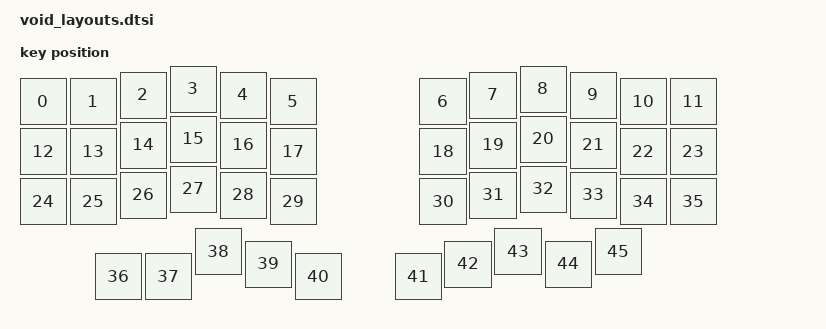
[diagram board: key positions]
#include <physical_layouts.dtsi>

/ {
    void_layout: void_layout {
        compatible = "zmk,physical-layout";
        display-name = "Void Ergo";

        keys  //                     w   h    x    y     rot    rx    ry
                  = <&key_physical_attrs 100 100 0 25 0 0 0>,
                  <&key_physical_attrs 100 100 100 25 0 0 0>,
                  <&key_physical_attrs 100 100 200 12 0 0 0>,
                  <&key_physical_attrs 100 100 300 0 0 0 0>,
                  <&key_physical_attrs 100 100 400 12 0 0 0>,
                  <&key_physical_attrs 100 100 500 25 0 0 0>,
                  <&key_physical_attrs 100 100 800 25 0 0 0>,
                  <&key_physical_attrs 100 100 900 12 0 0 0>,
                  <&key_physical_attrs 100 100 1000 0 0 0 0>,
                  <&key_physical_attrs 100 100 1100 12 0 0 0>,
                  <&key_physical_attrs 100 100 1200 25 0 0 0>,
                  <&key_physical_attrs 100 100 1300 25 0 0 0>,
                  <&key_physical_attrs 100 100 0 125 0 0 0>,
                  <&key_physical_attrs 100 100 100 125 0 0 0>,
                  <&key_physical_attrs 100 100 200 112 0 0 0>,
                  <&key_physical_attrs 100 100 300 100 0 0 0>,
                  <&key_physical_attrs 100 100 400 112 0 0 0>,
                  <&key_physical_attrs 100 100 500 125 0 0 0>,
                  <&key_physical_attrs 100 100 800 125 0 0 0>,
                  <&key_physical_attrs 100 100 900 112 0 0 0>,
                  <&key_physical_attrs 100 100 1000 100 0 0 0>,
                  <&key_physical_attrs 100 100 1100 112 0 0 0>,
                  <&key_physical_attrs 100 100 1200 125 0 0 0>,
                  <&key_physical_attrs 100 100 1300 125 0 0 0>,
                  <&key_physical_attrs 100 100 0 225 0 0 0>,
                  <&key_physical_attrs 100 100 100 225 0 0 0>,
                  <&key_physical_attrs 100 100 200 212 0 0 0>,
                  <&key_physical_attrs 100 100 300 200 0 0 0>,
                  <&key_physical_attrs 100 100 400 212 0 0 0>,
                  <&key_physical_attrs 100 100 500 225 0 0 0>,
                  <&key_physical_attrs 100 100 800 225 0 0 0>,
                  <&key_physical_attrs 100 100 900 212 0 0 0>,
                  <&key_physical_attrs 100 100 1000 200 0 0 0>,
                  <&key_physical_attrs 100 100 1100 212 0 0 0>,
                  <&key_physical_attrs 100 100 1200 225 0 0 0>,
                  <&key_physical_attrs 100 100 1300 225 0 0 0>,
                  <&key_physical_attrs 100 100 150 375 0 0 0>,
                  <&key_physical_attrs 100 100 250 375 0 0 0>,
                  <&key_physical_attrs 100 100 350 325 0 0 0>,
                  <&key_physical_attrs 100 100 450 350 0 0 0>,
                  <&key_physical_attrs 100 100 550 375 0 0 0>,
                  <&key_physical_attrs 100 100 750 375 0 0 0>,
                  <&key_physical_attrs 100 100 850 350 0 0 0>,
                  <&key_physical_attrs 100 100 950 325 0 0 0>,
                  <&key_physical_attrs 100 100 1050 350 0 0 0>,
                  <&key_physical_attrs 100 100 1150 325 0 0 0>;
        //     = <&key_physical_attrs 100 100    0   37       0     0     0>
        //     , <&key_physical_attrs 100 100  100   37       0     0     0>
        //     , <&key_physical_attrs 100 100  200   12       0     0     0>
        //     , <&key_physical_attrs 100 100  300    0       0     0     0>
        //     , <&key_physical_attrs 100 100  400   12       0     0     0>
        //     , <&key_physical_attrs 100 100  500   24       0     0     0>
        //     , <&key_physical_attrs 100 100  800   24       0     0     0>
        //     , <&key_physical_attrs 100 100  900   12       0     0     0>
        //     , <&key_physical_attrs 100 100 1000    0       0     0     0>
        //     , <&key_physical_attrs 100 100 1100   12       0     0     0>
        //     , <&key_physical_attrs 100 100 1200   37       0     0     0>
        //     , <&key_physical_attrs 100 100 1300   37       0     0     0>
        //     , <&key_physical_attrs 100 100    0  137       0     0     0>
        //     , <&key_physical_attrs 100 100  100  137       0     0     0>
        //     , <&key_physical_attrs 100 100  200  112       0     0     0>
        //     , <&key_physical_attrs 100 100  300  100       0     0     0>
        //     , <&key_physical_attrs 100 100  400  112       0     0     0>
        //     , <&key_physical_attrs 100 100  500  124       0     0     0>
        //     , <&key_physical_attrs 100 100  800  124       0     0     0>
        //     , <&key_physical_attrs 100 100  900  112       0     0     0>
        //     , <&key_physical_attrs 100 100 1000  100       0     0     0>
        //     , <&key_physical_attrs 100 100 1100  112       0     0     0>
        //     , <&key_physical_attrs 100 100 1200  137       0     0     0>
        //     , <&key_physical_attrs 100 100 1300  137       0     0     0>
        //     , <&key_physical_attrs 100 100    0  237       0     0     0>
        //     , <&key_physical_attrs 100 100  100  237       0     0     0>
        //     , <&key_physical_attrs 100 100  200  212       0     0     0>
        //     , <&key_physical_attrs 100 100  300  200       0     0     0>
        //     , <&key_physical_attrs 100 100  400  212       0     0     0>
        //     , <&key_physical_attrs 100 100  500  224       0     0     0>
        //     , <&key_physical_attrs 100 100  800  224       0     0     0>
        //     , <&key_physical_attrs 100 100  900  212       0     0     0>
        //     , <&key_physical_attrs 100 100 1000  200       0     0     0>
        //     , <&key_physical_attrs 100 100 1100  212       0     0     0>
        //     , <&key_physical_attrs 100 100 1200  237       0     0     0>
        //     , <&key_physical_attrs 100 100 1300  237       0     0     0>
        //     , <&key_physical_attrs 100 100  350  312       0     0     0>
        //     , <&key_physical_attrs 100 100  450  312    1200   450   412>
        //     , <&key_physical_attrs 100 100  548  283    2400   548   433>
        //     , <&key_physical_attrs 100 100  752  283  (-2400)  852   433>
        //     , <&key_physical_attrs 100 100  850  312  (-1200)  950   412>
        //     , <&key_physical_attrs 100 100  950  312       0     0     0>
        // ;
    };
};
